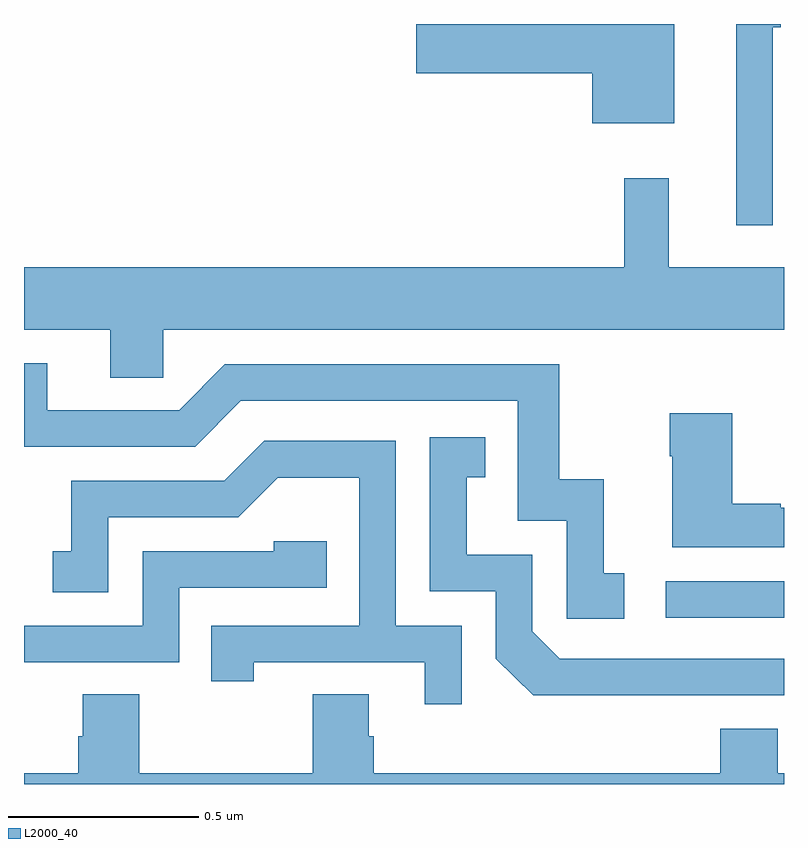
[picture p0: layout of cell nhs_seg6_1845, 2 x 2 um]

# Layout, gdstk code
import gdstk
lib = gdstk.Library(unit=1e-6, precision=1e-09)
def R(c, l, rs):  # rectangles x0, y0, x1, y1
    for r in rs: c.add(gdstk.rectangle(r[:2], r[2:], *l))
def P(c, l, *ps):  # polygons
    for p in ps: c.add(gdstk.Polygon(p, *l))
L2000_40 = (2000, 40)

nhs_seg6_1845 = lib.new_cell('nhs_seg6_1845')
R(nhs_seg6_1845, L2000_40, [(136.689,919.938,137,920.034)])
P(nhs_seg6_1845, L2000_40, [(136.711,921.5),(136.032,921.5),(136.032,921.371),(136.496,921.371),(136.496,921.239),(136.711,921.239)],
  [(136.971,921.491),(136.991,921.491),(136.991,921.5),(136.874,921.5),(136.874,920.97),(136.971,920.97)],
  [(135.366,920.696),(137,920.696),(137,920.86),(136.697,920.86),(136.697,921.094),(136.579,921.094),(136.579,920.86),(135,920.86),(135,920.696),(135.227,920.696),(135.227,920.569),(135.366,920.569)],
  [(136.579,920.055),(136.526,920.055),(136.526,920.302),(136.408,920.302),(136.408,920.604),(135.528,920.604),(135.408,920.484),(135.061,920.484),(135.061,920.607),(135,920.607),(135,920.388),(135.45,920.388),(135.57,920.508),(136.299,920.508),(136.299,920.193),(136.428,920.193),(136.428,919.935),(136.579,919.935)],
  [(137,920.227),(136.991,920.227),(136.991,920.237),(136.864,920.237),(136.864,920.476),(136.699,920.476),(136.699,920.363),(136.706,920.363),(136.706,920.123),(137,920.123)],
  [(136.748,919.734),(137,919.734),(137,919.83),(136.41,919.83),(136.338,919.902),(136.338,920.103),(136.165,920.103),(136.165,920.307),(136.214,920.307),(136.214,920.413),(136.068,920.413),(136.068,920.007),(136.242,920.007),(136.242,919.83),(136.34,919.733),(136.748,919.733)],
  [(136.152,919.917),(135.978,919.917),(135.978,920.403),(135.632,920.403),(135.527,920.298),(135.124,920.298),(135.124,920.113),(135.075,920.113),(135.075,920.004),(135.222,920.004),(135.222,920.202),(135.564,920.202),(135.668,920.306),(135.882,920.306),(135.882,919.917),(135.493,919.917),(135.493,919.77),(135.604,919.77),(135.604,919.821),(136.055,919.821),(136.055,919.71),(136.152,919.71)],
  [(135.408,920.016),(135.797,920.016),(135.797,920.139),(135.657,920.139),(135.657,920.112),(135.312,920.112),(135.312,919.917),(135,919.917),(135,919.821),(135.408,919.821)],
  [(137,919.528),(136.984,919.528),(136.984,919.645),(136.832,919.645),(136.832,919.528),(135.92,919.528),(135.92,919.626),(135.907,919.626),(135.907,919.736),(135.76,919.736),(135.76,919.528),(135.303,919.528),(135.303,919.736),(135.155,919.736),(135.155,919.626),(135.143,919.626),(135.143,919.528),(135,919.528),(135,919.5),(137,919.5)])

lib.write_gds('nhs_seg6_1845.gds')
